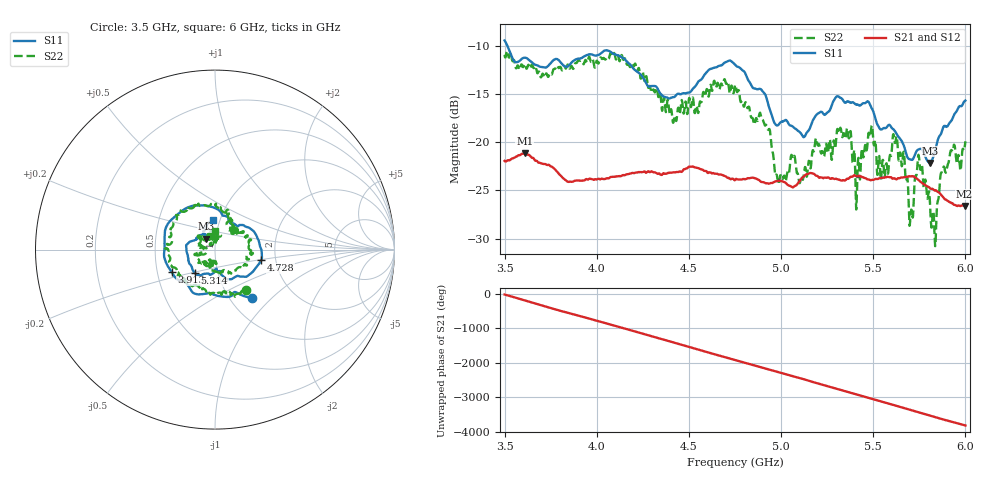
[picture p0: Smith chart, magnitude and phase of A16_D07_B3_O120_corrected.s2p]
! Created with skrf 1.9.0 (http://scikit-rf.org).
# Hz S RI R 50.0
!freq ReS11 ImS11 ReS21 ImS21 ReS12 ImS12 ReS22 ImS22
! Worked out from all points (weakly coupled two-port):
!   1601 points, 3.5 GHz to 6 GHz, reference 50 ohm
!   highest |S21| = -21.16 dB at 3.609 GHz (marker M1); lowest = -26.6 dB at 5.995 GHz (marker M2)
!   lowest |S11| = -22.2 dB at 5.808 GHz (marker M3), VSWR 1.17, Z = 45.1 + j5.58 ohm
!   |S11| at or under -10 dB: 3.515 GHz to end of sweep
!   |S22| runs from -30.8 to -10.5 dB; largest |S21 - S12| = 0.0011
!   S11 on the Smith chart (normalised r, x): 3.5 GHz: 1.26, -0.76; 3.913 GHz: 0.59, -0.16; 4.728 GHz: 1.68, -0.21; 5.314 GHz: 0.77, -0.21; 6 GHz: 0.93, +0.31
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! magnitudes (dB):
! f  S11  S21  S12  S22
! 3.5 GHz  -9.4  -21.9  -21.9  -10.9
! 3.609 GHz  -11.2  -21.2  -21.2  -11.9
! 3.913 GHz  -11.3  -24.0  -24.0  -11.5
! 3.917 GHz  -11.3  -24.0  -24.0  -11.5
! 4.334 GHz  -14.6  -23.3  -23.2  -15.3
! 4.422 GHz  -15.3  -23.1  -23.1  -17.3
! 4.728 GHz  -11.6  -23.8  -23.7  -14.3
! 4.75 GHz  -12.0  -23.9  -23.9  -14.1
! 4.93 GHz  -16.0  -24.3  -24.3  -18.7
! 4.98 GHz  -18.3  -24.0  -24.0  -23.7
! 5.167 GHz  -18.0  -23.2  -23.2  -21.4
! 5.314 GHz  -15.3  -23.9  -23.9  -19.0
! 5.416 GHz  -16.1  -23.6  -23.6  -22.5
! 5.484 GHz  -16.2  -23.9  -23.9  -19.3
! 5.584 GHz  -18.2  -23.6  -23.6  -22.4
! 5.619 GHz  -18.9  -23.8  -23.8  -20.1
! 5.706 GHz  -21.8  -23.6  -23.5  -27.0
! 5.753 GHz  -20.7  -24.1  -24.0  -22.5
! 5.808 GHz  -22.2  -24.8  -24.7  -26.3
! 5.83 GHz  -21.3  -25.0  -24.9  -28.0
! 5.995 GHz  -15.7  -26.6  -26.5  -20.6
! 6 GHz  -15.7  -26.6  -26.6  -19.9
